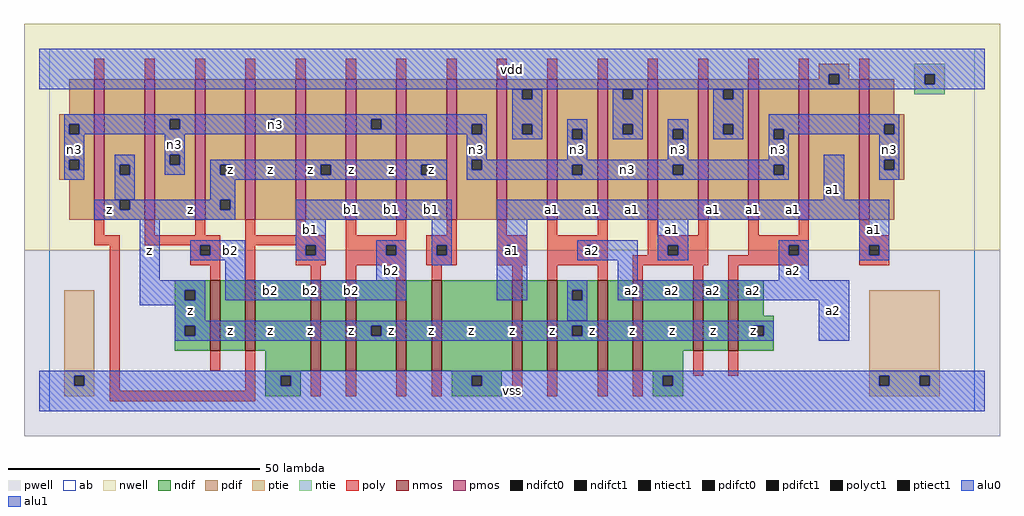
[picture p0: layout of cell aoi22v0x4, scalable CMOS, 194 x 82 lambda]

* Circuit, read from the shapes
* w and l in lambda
.subckt aoi22v0x4 a1 a2 b1 b2 n3 vdd vss z
M1 n1 b2 z vss nfet w=14 l=2
M2 vss b1 n1 vss nfet w=14 l=2
M3 n2 b1 vss vss nfet w=18 l=2
M4 z b2 n2 vss nfet w=18 l=2
M5 n4 b2 z vss nfet w=18 l=2
M6 vss b1 n4 vss nfet w=18 l=2
M7 n5 a1 vss vss nfet w=18 l=2
M8 z a2 n5 vss nfet w=18 l=2
M9 n6 a2 z vss nfet w=18 l=2
M10 vss a1 n6 vss nfet w=18 l=2
M11 n7 a1 vss vss nfet w=14 l=2
M12 z a2 n7 vss nfet w=14 l=2
M13 z b1 n3 vdd pfet w=28 l=2 m=4
M14 n3 b2 z vdd pfet w=28 l=2 m=4
M15 vdd a1 n3 vdd pfet w=28 l=2 m=4
M16 n3 a2 vdd vdd pfet w=28 l=2 m=4
.ends

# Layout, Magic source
magic
tech scmos
<< ab >>
rect 0 0 184 72
<< nwell >>
rect -5 32 189 77
<< pwell >>
rect -5 -5 189 32
<< poly >>
rect 9 66 11 70
rect 19 66 21 70
rect 29 66 31 70
rect 39 66 41 70
rect 49 66 51 70
rect 59 66 61 70
rect 69 66 71 70
rect 79 66 81 70
rect 89 66 91 70
rect 99 66 101 70
rect 109 66 111 70
rect 119 66 121 70
rect 129 66 131 70
rect 139 66 141 70
rect 149 66 151 70
rect 161 66 163 70
rect 9 35 11 38
rect 19 35 21 38
rect 29 35 31 38
rect 39 35 41 38
rect 49 35 51 38
rect 59 35 61 38
rect 69 35 71 38
rect 79 35 81 38
rect 9 33 14 35
rect 19 33 34 35
rect 12 4 14 33
rect 28 31 30 33
rect 32 31 34 33
rect 28 29 34 31
rect 32 26 34 29
rect 39 33 55 35
rect 39 26 41 33
rect 49 31 51 33
rect 53 31 55 33
rect 49 29 55 31
rect 59 33 71 35
rect 59 31 67 33
rect 69 31 71 33
rect 59 29 71 31
rect 75 33 81 35
rect 75 31 77 33
rect 79 31 81 33
rect 75 29 81 31
rect 89 35 91 38
rect 99 35 101 38
rect 109 35 111 38
rect 89 33 95 35
rect 89 31 91 33
rect 93 31 95 33
rect 89 29 95 31
rect 99 33 111 35
rect 99 31 107 33
rect 109 31 111 33
rect 119 35 121 38
rect 129 35 131 38
rect 119 33 131 35
rect 119 31 123 33
rect 125 31 131 33
rect 139 35 141 38
rect 149 35 151 38
rect 139 33 151 35
rect 139 31 147 33
rect 149 31 151 33
rect 99 29 111 31
rect 52 26 54 29
rect 59 26 61 29
rect 69 26 71 29
rect 76 26 78 29
rect 92 26 94 29
rect 99 26 101 29
rect 109 26 111 29
rect 116 29 131 31
rect 135 29 151 31
rect 161 35 163 38
rect 161 33 167 35
rect 161 31 163 33
rect 165 31 167 33
rect 161 29 167 31
rect 116 26 118 29
rect 128 26 130 29
rect 135 26 137 29
rect 32 8 34 12
rect 39 4 41 12
rect 12 2 41 4
rect 52 3 54 8
rect 59 3 61 8
rect 69 3 71 8
rect 76 3 78 8
rect 92 3 94 8
rect 99 3 101 8
rect 109 3 111 8
rect 116 3 118 8
rect 128 7 130 12
rect 135 7 137 12
<< ndif >>
rect 25 24 32 26
rect 25 22 27 24
rect 29 22 32 24
rect 25 17 32 22
rect 25 15 27 17
rect 29 15 32 17
rect 25 12 32 15
rect 34 12 39 26
rect 41 12 52 26
rect 43 8 52 12
rect 54 8 59 26
rect 61 17 69 26
rect 61 15 64 17
rect 66 15 69 17
rect 61 8 69 15
rect 71 8 76 26
rect 78 8 92 26
rect 94 8 99 26
rect 101 24 109 26
rect 101 22 104 24
rect 106 22 109 24
rect 101 17 109 22
rect 101 15 104 17
rect 106 15 109 17
rect 101 8 109 15
rect 111 8 116 26
rect 118 12 128 26
rect 130 12 135 26
rect 137 19 142 26
rect 137 17 144 19
rect 137 15 140 17
rect 142 15 144 17
rect 137 12 144 15
rect 118 8 126 12
rect 43 7 50 8
rect 43 5 46 7
rect 48 5 50 7
rect 43 3 50 5
rect 80 7 90 8
rect 80 5 84 7
rect 86 5 90 7
rect 80 3 90 5
rect 120 7 126 8
rect 120 5 122 7
rect 124 5 126 7
rect 120 3 126 5
<< pdif >>
rect 153 67 159 69
rect 153 66 155 67
rect 4 59 9 66
rect 2 57 9 59
rect 2 55 4 57
rect 6 55 9 57
rect 2 50 9 55
rect 2 48 4 50
rect 6 48 9 50
rect 2 46 9 48
rect 4 38 9 46
rect 11 49 19 66
rect 11 47 14 49
rect 16 47 19 49
rect 11 42 19 47
rect 11 40 14 42
rect 16 40 19 42
rect 11 38 19 40
rect 21 58 29 66
rect 21 56 24 58
rect 26 56 29 58
rect 21 51 29 56
rect 21 49 24 51
rect 26 49 29 51
rect 21 38 29 49
rect 31 49 39 66
rect 31 47 34 49
rect 36 47 39 49
rect 31 42 39 47
rect 31 40 34 42
rect 36 40 39 42
rect 31 38 39 40
rect 41 58 49 66
rect 41 56 44 58
rect 46 56 49 58
rect 41 38 49 56
rect 51 49 59 66
rect 51 47 54 49
rect 56 47 59 49
rect 51 38 59 47
rect 61 58 69 66
rect 61 56 64 58
rect 66 56 69 58
rect 61 38 69 56
rect 71 49 79 66
rect 71 47 74 49
rect 76 47 79 49
rect 71 38 79 47
rect 81 57 89 66
rect 81 55 84 57
rect 86 55 89 57
rect 81 50 89 55
rect 81 48 84 50
rect 86 48 89 50
rect 81 38 89 48
rect 91 64 99 66
rect 91 62 94 64
rect 96 62 99 64
rect 91 57 99 62
rect 91 55 94 57
rect 96 55 99 57
rect 91 38 99 55
rect 101 56 109 66
rect 101 54 104 56
rect 106 54 109 56
rect 101 49 109 54
rect 101 47 104 49
rect 106 47 109 49
rect 101 38 109 47
rect 111 64 119 66
rect 111 62 114 64
rect 116 62 119 64
rect 111 57 119 62
rect 111 55 114 57
rect 116 55 119 57
rect 111 38 119 55
rect 121 56 129 66
rect 121 54 124 56
rect 126 54 129 56
rect 121 49 129 54
rect 121 47 124 49
rect 126 47 129 49
rect 121 38 129 47
rect 131 64 139 66
rect 131 62 134 64
rect 136 62 139 64
rect 131 57 139 62
rect 131 55 134 57
rect 136 55 139 57
rect 131 38 139 55
rect 141 56 149 66
rect 141 54 144 56
rect 146 54 149 56
rect 141 49 149 54
rect 141 47 144 49
rect 146 47 149 49
rect 141 38 149 47
rect 151 65 155 66
rect 157 66 159 67
rect 157 65 161 66
rect 151 38 161 65
rect 163 59 168 66
rect 163 57 170 59
rect 163 55 166 57
rect 168 55 170 57
rect 163 50 170 55
rect 163 48 166 50
rect 168 48 170 50
rect 163 46 170 48
rect 163 38 168 46
<< alu1 >>
rect -2 67 186 72
rect -2 65 155 67
rect 157 65 174 67
rect 176 65 186 67
rect -2 64 186 65
rect 32 49 79 50
rect 32 47 34 49
rect 36 47 54 49
rect 56 47 74 49
rect 76 47 79 49
rect 32 46 79 47
rect 32 42 37 46
rect 154 42 158 51
rect 9 40 14 42
rect 16 40 34 42
rect 36 40 37 42
rect 9 38 37 40
rect 49 38 80 42
rect 18 26 22 38
rect 28 33 39 34
rect 28 31 30 33
rect 32 31 39 33
rect 28 30 39 31
rect 49 33 55 38
rect 49 31 51 33
rect 53 31 55 33
rect 49 30 55 31
rect 65 33 71 34
rect 65 31 67 33
rect 69 31 71 33
rect 35 26 39 30
rect 65 26 71 31
rect 76 33 80 38
rect 76 31 77 33
rect 79 31 80 33
rect 76 29 80 31
rect 89 38 167 42
rect 89 33 95 38
rect 89 31 91 33
rect 93 31 95 33
rect 18 24 31 26
rect 18 22 27 24
rect 29 22 31 24
rect 35 22 71 26
rect 89 22 95 31
rect 105 33 117 34
rect 105 31 107 33
rect 109 31 117 33
rect 105 30 117 31
rect 121 33 127 38
rect 121 31 123 33
rect 125 31 127 33
rect 121 30 127 31
rect 145 33 151 34
rect 145 31 147 33
rect 149 31 151 33
rect 113 26 117 30
rect 145 26 151 31
rect 161 33 167 38
rect 161 31 163 33
rect 165 31 167 33
rect 161 30 167 31
rect 113 22 159 26
rect 18 21 31 22
rect 25 18 31 21
rect 25 17 144 18
rect 25 15 27 17
rect 29 15 64 17
rect 66 15 104 17
rect 106 15 140 17
rect 142 15 144 17
rect 25 14 144 15
rect 153 14 159 22
rect -2 7 186 8
rect -2 5 5 7
rect 7 5 46 7
rect 48 5 84 7
rect 86 5 122 7
rect 124 5 165 7
rect 167 5 173 7
rect 175 5 186 7
rect -2 0 186 5
<< ptie >>
rect 3 7 9 24
rect 3 5 5 7
rect 7 5 9 7
rect 3 3 9 5
rect 163 7 177 24
rect 163 5 165 7
rect 167 5 173 7
rect 175 5 177 7
rect 163 3 177 5
<< ntie >>
rect 172 67 178 69
rect 172 65 174 67
rect 176 65 178 67
rect 172 63 178 65
<< nmos >>
rect 32 12 34 26
rect 39 12 41 26
rect 52 8 54 26
rect 59 8 61 26
rect 69 8 71 26
rect 76 8 78 26
rect 92 8 94 26
rect 99 8 101 26
rect 109 8 111 26
rect 116 8 118 26
rect 128 12 130 26
rect 135 12 137 26
<< pmos >>
rect 9 38 11 66
rect 19 38 21 66
rect 29 38 31 66
rect 39 38 41 66
rect 49 38 51 66
rect 59 38 61 66
rect 69 38 71 66
rect 79 38 81 66
rect 89 38 91 66
rect 99 38 101 66
rect 109 38 111 66
rect 119 38 121 66
rect 129 38 131 66
rect 139 38 141 66
rect 149 38 151 66
rect 161 38 163 66
<< polyct1 >>
rect 30 31 32 33
rect 51 31 53 33
rect 67 31 69 33
rect 77 31 79 33
rect 91 31 93 33
rect 107 31 109 33
rect 123 31 125 33
rect 147 31 149 33
rect 163 31 165 33
<< ndifct0 >>
rect 104 22 106 24
<< ndifct1 >>
rect 27 22 29 24
rect 27 15 29 17
rect 64 15 66 17
rect 104 15 106 17
rect 140 15 142 17
rect 46 5 48 7
rect 84 5 86 7
rect 122 5 124 7
<< ntiect1 >>
rect 174 65 176 67
<< ptiect1 >>
rect 5 5 7 7
rect 165 5 167 7
rect 173 5 175 7
<< pdifct0 >>
rect 4 55 6 57
rect 4 48 6 50
rect 14 47 16 49
rect 24 56 26 58
rect 24 49 26 51
rect 44 56 46 58
rect 64 56 66 58
rect 84 55 86 57
rect 84 48 86 50
rect 94 62 96 64
rect 94 55 96 57
rect 104 54 106 56
rect 104 47 106 49
rect 114 62 116 64
rect 114 55 116 57
rect 124 54 126 56
rect 124 47 126 49
rect 134 62 136 64
rect 134 55 136 57
rect 144 54 146 56
rect 144 47 146 49
rect 166 55 168 57
rect 166 48 168 50
<< pdifct1 >>
rect 14 40 16 42
rect 34 47 36 49
rect 34 40 36 42
rect 54 47 56 49
rect 74 47 76 49
rect 155 65 157 67
<< alu0 >>
rect 92 62 94 64
rect 96 62 98 64
rect 3 58 87 59
rect 3 57 24 58
rect 3 55 4 57
rect 6 56 24 57
rect 26 56 44 58
rect 46 56 64 58
rect 66 57 87 58
rect 66 56 84 57
rect 6 55 84 56
rect 86 55 87 57
rect 3 50 7 55
rect 23 51 27 55
rect 3 48 4 50
rect 6 48 7 50
rect 3 46 7 48
rect 13 49 17 51
rect 13 47 14 49
rect 16 47 17 49
rect 23 49 24 51
rect 26 49 27 51
rect 83 50 87 55
rect 92 57 98 62
rect 112 62 114 64
rect 116 62 118 64
rect 92 55 94 57
rect 96 55 98 57
rect 92 54 98 55
rect 103 56 107 58
rect 103 54 104 56
rect 106 54 107 56
rect 112 57 118 62
rect 132 62 134 64
rect 136 62 138 64
rect 112 55 114 57
rect 116 55 118 57
rect 112 54 118 55
rect 123 56 127 58
rect 123 54 124 56
rect 126 54 127 56
rect 132 57 138 62
rect 132 55 134 57
rect 136 55 138 57
rect 132 54 138 55
rect 143 57 169 59
rect 143 56 166 57
rect 143 54 144 56
rect 146 55 166 56
rect 168 55 169 57
rect 146 54 147 55
rect 103 50 107 54
rect 123 50 127 54
rect 143 50 147 54
rect 23 47 27 49
rect 13 42 17 47
rect 83 48 84 50
rect 86 49 147 50
rect 86 48 104 49
rect 83 47 104 48
rect 106 47 124 49
rect 126 47 144 49
rect 146 47 147 49
rect 83 46 147 47
rect 165 50 169 55
rect 165 48 166 50
rect 168 48 169 50
rect 165 46 169 48
rect 103 24 107 26
rect 103 22 104 24
rect 106 22 107 24
rect 103 18 107 22
<< labels >>
rlabel alu0 25 53 25 53 6 n3
rlabel alu0 5 52 5 52 6 n3
rlabel alu0 85 52 85 52 6 n3
rlabel pdifct0 45 57 45 57 6 n3
rlabel alu0 105 52 105 52 6 n3
rlabel alu0 125 52 125 52 6 n3
rlabel alu0 115 48 115 48 6 n3
rlabel alu0 145 52 145 52 6 n3
rlabel alu0 167 52 167 52 6 n3
rlabel alu1 28 20 28 20 6 z
rlabel alu1 20 32 20 32 6 z
rlabel alu1 28 40 28 40 6 z
rlabel alu1 12 40 12 40 6 z
rlabel alu1 52 16 52 16 6 z
rlabel alu1 44 16 44 16 6 z
rlabel alu1 60 16 60 16 6 z
rlabel alu1 68 16 68 16 6 z
rlabel alu1 36 16 36 16 6 z
rlabel alu1 60 24 60 24 6 b2
rlabel alu1 52 24 52 24 6 b2
rlabel alu1 44 24 44 24 6 b2
rlabel alu1 68 28 68 28 6 b2
rlabel alu1 36 32 36 32 6 b2
rlabel alu1 60 40 60 40 6 b1
rlabel alu1 68 40 68 40 6 b1
rlabel alu1 52 36 52 36 6 b1
rlabel alu1 36 48 36 48 6 z
rlabel alu1 60 48 60 48 6 z
rlabel alu1 68 48 68 48 6 z
rlabel alu1 52 48 52 48 6 z
rlabel alu1 44 48 44 48 6 z
rlabel alu1 92 4 92 4 6 vss
rlabel alu1 84 16 84 16 6 z
rlabel alu1 92 16 92 16 6 z
rlabel alu1 108 16 108 16 6 z
rlabel alu1 100 16 100 16 6 z
rlabel alu1 76 16 76 16 6 z
rlabel polyct1 108 32 108 32 6 a2
rlabel polyct1 92 32 92 32 6 a1
rlabel alu1 76 40 76 40 6 b1
rlabel alu1 108 40 108 40 6 a1
rlabel alu1 100 40 100 40 6 a1
rlabel alu1 76 48 76 48 6 z
rlabel alu1 92 68 92 68 6 vdd
rlabel alu1 116 16 116 16 6 z
rlabel alu1 124 16 124 16 6 z
rlabel alu1 140 16 140 16 6 z
rlabel alu1 132 16 132 16 6 z
rlabel alu1 124 24 124 24 6 a2
rlabel alu1 140 24 140 24 6 a2
rlabel alu1 132 24 132 24 6 a2
rlabel alu1 116 24 116 24 6 a2
rlabel alu1 124 36 124 36 6 a1
rlabel alu1 140 40 140 40 6 a1
rlabel alu1 132 40 132 40 6 a1
rlabel alu1 116 40 116 40 6 a1
rlabel alu1 156 20 156 20 6 a2
rlabel alu1 148 28 148 28 6 a2
rlabel alu1 148 40 148 40 6 a1
rlabel alu1 164 36 164 36 6 a1
rlabel alu1 156 44 156 44 6 a1
<< end >>
